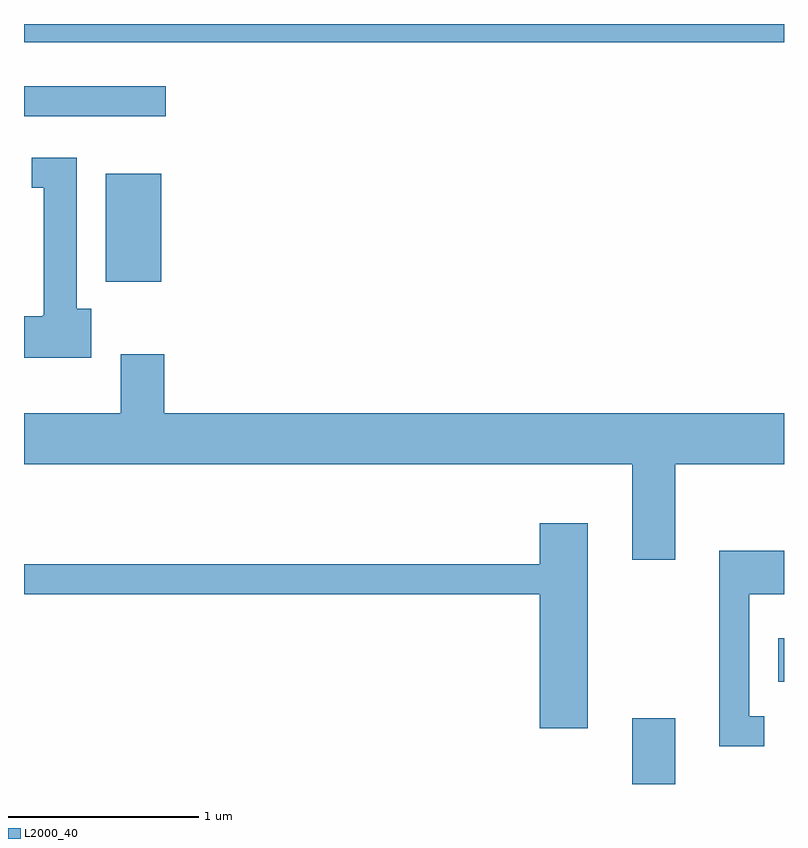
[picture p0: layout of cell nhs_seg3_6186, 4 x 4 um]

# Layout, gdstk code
import gdstk
lib = gdstk.Library(unit=1e-6, precision=1e-09)
def R(c, l, rs):  # rectangles x0, y0, x1, y1
    for r in rs: c.add(gdstk.rectangle(r[:2], r[2:], *l))
def P(c, l, *ps):  # polygons
    for p in ps: c.add(gdstk.Polygon(p, *l))
L2000_40 = (2000, 40)

nhs_seg3_6186 = lib.new_cell('nhs_seg3_6186')
R(nhs_seg3_6186, L2000_40, [(370.811,1119.892,371.039,1120.239), (371.581,1120.431,371.611,1120.659), (368.041,1122.536,368.334,1123.104), (367.611,1123.406,368.358,1123.564), (367.611,1123.796,371.611,1123.892)])
P(nhs_seg3_6186, L2000_40, [(367.964,1122.394),(367.889,1122.394),(367.889,1123.189),(367.653,1123.189),(367.653,1123.031),(367.716,1123.031),(367.716,1122.36),(367.71,1122.36),(367.71,1122.354),(367.611,1122.354),(367.611,1122.136),(367.964,1122.136)],
  [(370.811,1121.071),(371.039,1121.071),(371.039,1121.576),(371.611,1121.576),(371.611,1121.844),(368.349,1121.844),(368.349,1122.154),(368.121,1122.154),(368.121,1121.844),(367.611,1121.844),(367.611,1121.576),(370.811,1121.576)],
  [(370.579,1121.264),(370.326,1121.264),(370.326,1121.049),(367.611,1121.049),(367.611,1120.891),(370.326,1120.891),(370.326,1120.186),(370.579,1120.186)],
  [(371.508,1120.249),(371.429,1120.249),(371.429,1120.891),(371.611,1120.891),(371.611,1121.119),(371.271,1121.119),(371.271,1120.091),(371.508,1120.091)])

lib.write_gds('nhs_seg3_6186.gds')
